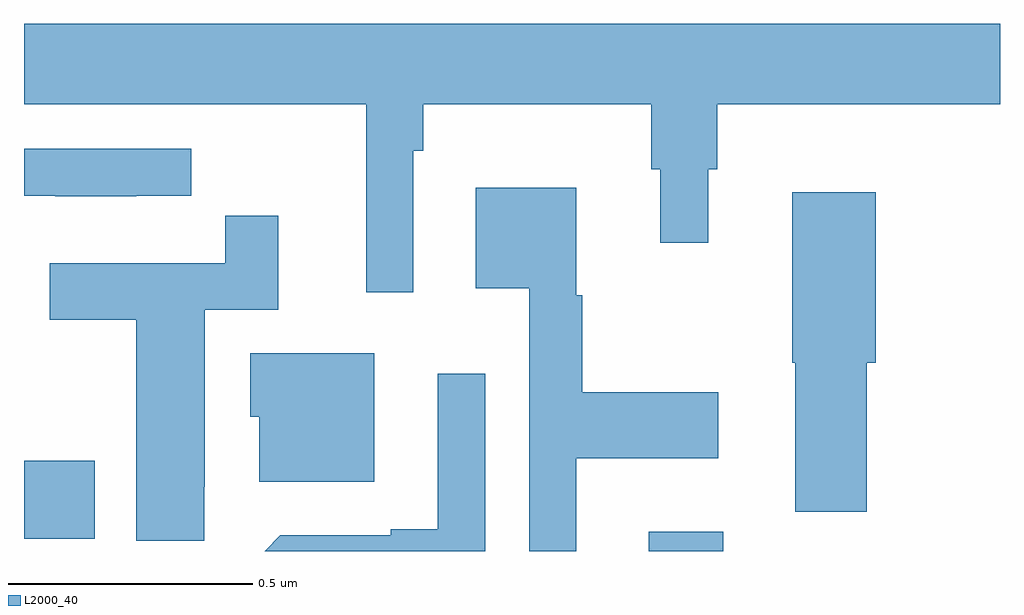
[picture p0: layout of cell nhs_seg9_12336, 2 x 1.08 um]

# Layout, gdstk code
import gdstk
lib = gdstk.Library(unit=1e-6, precision=1e-09)
def R(c, l, rs):  # rectangles x0, y0, x1, y1
    for r in rs: c.add(gdstk.rectangle(r[:2], r[2:], *l))
def P(c, l, *ps):  # polygons
    for p in ps: c.add(gdstk.Polygon(p, *l))
L2000_40 = (2000, 40)

nhs_seg9_12336 = lib.new_cell('nhs_seg9_12336')
R(nhs_seg9_12336, L2000_40, [(268.28,1199.5,268.433,1199.539), (267,1199.525,267.145,1199.685)])
P(nhs_seg9_12336, L2000_40, [(267.798,1200.32),(267.818,1200.32),(267.818,1200.416),(268.285,1200.416),(268.285,1200.282),(268.304,1200.282),(268.304,1200.132),(268.402,1200.132),(268.402,1200.282),(268.421,1200.282),(268.421,1200.416),(269,1200.416),(269,1200.58),(267,1200.58),(267,1200.416),(267.701,1200.416),(267.701,1200.03),(267.798,1200.03)],
  [(267.23,1200.228),(267.343,1200.228),(267.343,1200.324),(267,1200.324),(267,1200.228),(267.064,1200.228),(267.064,1200.227),(267.23,1200.227)],
  [(268.132,1199.69),(268.423,1199.69),(268.423,1199.825),(268.144,1199.825),(268.144,1200.024),(268.132,1200.024),(268.132,1200.244),(267.926,1200.244),(267.926,1200.038),(268.035,1200.038),(268.035,1199.5),(268.132,1199.5)],
  [(268.727,1199.886),(268.745,1199.886),(268.745,1200.235),(268.574,1200.235),(268.574,1199.886),(268.58,1199.886),(268.58,1199.58),(268.727,1199.58)],
  [(267.369,1199.632),(267.37,1199.632),(267.37,1199.994),(267.521,1199.994),(267.521,1200.187),(267.412,1200.187),(267.412,1200.09),(267.053,1200.09),(267.053,1199.974),(267.23,1199.974),(267.23,1199.521),(267.369,1199.521)],
  [(267.718,1199.905),(267.464,1199.905),(267.464,1199.775),(267.482,1199.775),(267.482,1199.642),(267.718,1199.642)],
  [(267.945,1199.863),(267.848,1199.863),(267.848,1199.545),(267.752,1199.545),(267.752,1199.532),(267.525,1199.532),(267.493,1199.5),(267.945,1199.5)])

lib.write_gds('nhs_seg9_12336.gds')
